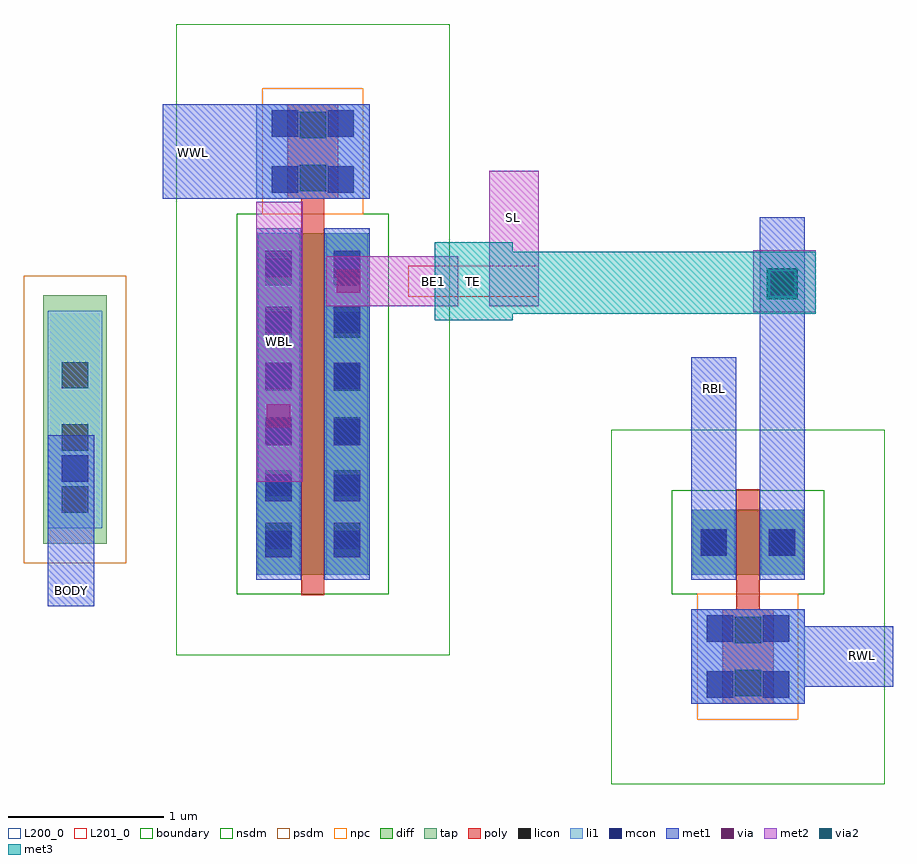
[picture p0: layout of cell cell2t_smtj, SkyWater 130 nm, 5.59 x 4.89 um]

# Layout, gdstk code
import gdstk
lib = gdstk.Library(unit=1e-6, precision=1e-09)
def R(c, l, rs):  # rectangles x0, y0, x1, y1
    for r in rs: c.add(gdstk.rectangle(r[:2], r[2:], *l))
def A(c, l, x, y, w, h, nx, ny, dx, dy):  # array of equal rectangles
    R(c, l, [(x+i*dx, y+j*dy, x+i*dx+w, y+j*dy+h) for i in range(nx) for j in range(ny)])
def P(c, l, *ps):  # polygons
    for p in ps: c.add(gdstk.Polygon(p, *l))
diff = (65, 20)
tap = (65, 44)
poly = (66, 20)
licon = (66, 44)
li1 = (67, 20)
mcon = (67, 44)
met1 = (68, 20)
via = (68, 44)
met2 = (69, 20)
via2 = (69, 44)
met3 = (70, 20)
nsdm = (93, 44)
psdm = (94, 20)
npc = (95, 20)
L200_0 = (200, 0)
L201_0 = (201, 0)
boundary = (235, 4)

cell2t_smtj = lib.new_cell('cell2t_smtj')
R(cell2t_smtj, diff, [(0,0,0.73,2.2), (2.8,0,3.53,0.42)])
R(cell2t_smtj, tap, [(-1.37,0.2,-0.96,1.8)])
P(cell2t_smtj, poly, [(3,-0.83),(3,-0.22),(3.09,-0.22),(3.09,0.55),(3.24,0.55),(3.24,-0.22),(3.33,-0.22),(3.33,-0.83)],
  [(0.29,-0.13),(0.29,2.42),(0.2,2.42),(0.2,3.03),(0.53,3.03),(0.53,2.42),(0.44,2.42),(0.44,-0.13)])
A(cell2t_smtj, licon, 0.06, 0.165, 0.17, 0.17, 1, 6, 0, 0.34)
A(cell2t_smtj, licon, 0.5, 0.165, 0.17, 0.17, 1, 6, 0, 0.34)
A(cell2t_smtj, licon, -1.25, 0.4, 0.17, 0.17, 1, 3, 0, 0.4)
R(cell2t_smtj, licon, [(3.08,-0.78,3.25,-0.61), (3.08,-0.44,3.25,-0.27), (2.86,0.125,3.03,0.295), (3.3,0.125,3.47,0.295), (0.28,2.47,0.45,2.64), (0.28,2.81,0.45,2.98)])
R(cell2t_smtj, li1, [(2.8,-0.83,3.53,-0.22), (0.01,0,0.28,2.2), (0.45,0,0.72,2.2), (2.81,0,3.08,0.42), (3.25,0,3.52,0.42), (-1.34,0.3,-0.99,1.7), (0,2.42,0.73,3.03)])
A(cell2t_smtj, mcon, 0.06, 0.115, 0.17, 0.17, 1, 6, 0, 0.36)
A(cell2t_smtj, mcon, 0.5, 0.115, 0.17, 0.17, 1, 6, 0, 0.36)
R(cell2t_smtj, mcon, [(2.9,-0.79,3.07,-0.62), (3.26,-0.79,3.43,-0.62), (2.9,-0.43,3.07,-0.26), (3.26,-0.43,3.43,-0.26), (2.86,0.125,3.03,0.295), (3.3,0.125,3.47,0.295), (-1.25,0.6,-1.08,0.77), (0.1,2.46,0.27,2.63), (0.46,2.46,0.63,2.63), (0.1,2.82,0.27,2.99), (0.46,2.82,0.63,2.99)])
R(cell2t_smtj, met1, [(-1.34,-0.2,-1.04,0.9), (0,-0.03,0.29,2.23), (0.44,-0.03,0.73,2.23), (2.8,-0.03,3.09,1.4), (3.24,-0.03,3.53,2.3), (-0.6,2.42,0.73,3.03)])
P(cell2t_smtj, met1, [(2.8,-0.83),(2.8,-0.22),(3.53,-0.22),(3.53,-0.33),(4.1,-0.33),(4.1,-0.72),(3.53,-0.72),(3.53,-0.83)])
R(cell2t_smtj, via, [(0.07,0.95,0.22,1.1), (3.31,1.8,3.46,1.95), (0.52,1.815,0.67,1.965)])
R(cell2t_smtj, met2, [(0,0.6,0.3,2.4), (3.2,1.69,3.6,2.09), (0.45,1.73,1.3,2.05), (1.5,1.73,1.82,2.6)])
R(cell2t_smtj, via2, [(3.285,1.775,3.485,1.975)])
P(cell2t_smtj, met3, [(1.15,1.64),(1.15,2.14),(1.65,2.14),(1.65,2.08),(3.6,2.08),(3.6,1.68),(1.65,1.68),(1.65,1.64)])
R(cell2t_smtj, nsdm, [(-0.125,-0.125,0.855,2.325), (2.675,-0.125,3.655,0.545)])
R(cell2t_smtj, psdm, [(-1.495,0.075,-0.835,1.925)])
R(cell2t_smtj, npc, [(2.84,-0.93,3.49,-0.12), (0.04,2.32,0.69,3.13)])
R(cell2t_smtj, L200_0, [(1.36,1.85,1.44,1.93)])
R(cell2t_smtj, L201_0, [(0.98,1.79,1.82,1.99)])
R(cell2t_smtj, boundary, [(2.285,-1.345,4.045,0.935), (-0.515,-0.515,1.245,3.545)])
cell2t_smtj.add(gdstk.Label('RBL', (2.95,1.2), layer=68, texttype=5))
cell2t_smtj.add(gdstk.Label('WWL', (-0.4,2.72), layer=68, texttype=5))
cell2t_smtj.add(gdstk.Label('RWL', (3.9,-0.52), layer=68, texttype=5))
cell2t_smtj.add(gdstk.Label('BODY', (-1.19,-0.1), layer=68, texttype=5))
cell2t_smtj.add(gdstk.Label('WBL', (0.15,1.5), layer=69, texttype=5))
cell2t_smtj.add(gdstk.Label('BE1', (1.139,1.889), layer=69, texttype=5))
cell2t_smtj.add(gdstk.Label('SL', (1.659,2.3), layer=69, texttype=5))
cell2t_smtj.add(gdstk.Label('TE', (1.399,1.889), layer=70, texttype=5))

lib.write_gds('cell2t_smtj.gds')
